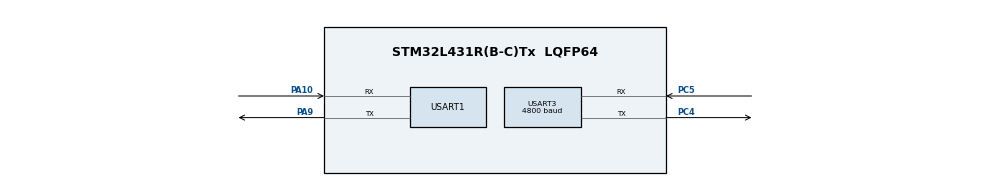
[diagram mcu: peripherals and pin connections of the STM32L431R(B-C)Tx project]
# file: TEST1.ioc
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Dma.Request0=USART3_RX
Dma.USART3_RX.0.Direction=DMA_PERIPH_TO_MEMORY
Dma.USART3_RX.0.Instance=DMA1_Channel3
Dma.USART3_RX.0.MemDataAlignment=DMA_MDATAALIGN_BYTE
Dma.USART3_RX.0.MemInc=DMA_MINC_ENABLE
Dma.USART3_RX.0.Mode=DMA_NORMAL
Dma.USART3_RX.0.PeriphDataAlignment=DMA_PDATAALIGN_BYTE
Dma.USART3_RX.0.PeriphInc=DMA_PINC_DISABLE
Dma.USART3_RX.0.Priority=DMA_PRIORITY_LOW
Mcu.Family=STM32L4
Mcu.Name=STM32L431R(B-C)Tx
Mcu.Package=LQFP64
NVIC.DMA1_Channel3_IRQn=true\:0\:0\:false\:false\:true\:false\:true
NVIC.PriorityGroup=NVIC_PRIORITYGROUP_4
NVIC.USART3_IRQn=true\:0\:0\:false\:false\:true\:true\:true
PA10.Mode=Asynchronous
PA10.Signal=USART1_RX
PA9.Mode=Asynchronous
PA9.Signal=USART1_TX
PC4.Mode=Asynchronous
PC4.Signal=USART3_TX
PC5.Mode=Asynchronous
PC5.Signal=USART3_RX
ProjectManager.HeapSize=0x200
ProjectManager.StackSize=0x400
ProjectManager.TargetToolchain=MDK-ARM V5.27
RCC.HSE_VALUE=8000000
RCC.HSI48_VALUE=48000000
RCC.HSI_VALUE=16000000
RCC.LSE_VALUE=32768
RCC.MSI_VALUE=4000000
RCC.VCOOutputFreq_Value=32000000
USART1.VirtualMode-Asynchronous=VM_ASYNC
USART3.BaudRate=4800
USART3.Parity=PARITY_EVEN
USART3.VirtualMode-Asynchronous=VM_ASYNC
board=custom

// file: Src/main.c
/* USER CODE BEGIN Header */
/**
  ******************************************************************************
  * @file           : main.c
  * @brief          : Main program body
  ******************************************************************************
  * @attention
  *
  * <h2><center>&copy; Copyright (c) 2020 STMicroelectronics.
  * All rights reserved.</center></h2>
  *
  * This software component is licensed by ST under BSD 3-Clause license,
  * the "License"; You may not use this file except in compliance with the
  * License. You may obtain a copy of the License at:
  *                        opensource.org/licenses/BSD-3-Clause
  *
  ******************************************************************************
  */
/* USER CODE END Header */

#include "main.h"

/* USER CODE BEGIN PM */
#define BUFFER_SIZE  480
/* USER CODE END PM */

UART_HandleTypeDef huart1;
UART_HandleTypeDef huart3;
DMA_HandleTypeDef hdma_usart3_rx;

/* USER CODE BEGIN PV */
unsigned char flag=0;
/* USER CODE END PV */

void SystemClock_Config(void);
static void MX_GPIO_Init(void);
static void MX_DMA_Init(void);
static void MX_USART3_UART_Init(void);
static void MX_USART1_UART_Init(void);

/* USER CODE BEGIN 0 */
void HAL_UART_RxCpltCallback(UART_HandleTypeDef *huart)
{
	flag=1;
}
/* USER CODE END 0 */

int main(void)
{
  /* USER CODE BEGIN 1 */
	unsigned char xtemp[BUFFER_SIZE];
	unsigned char ytemp[BUFFER_SIZE];

  /* USER CODE END 1 */

  /* MCU Configuration--------------------------------------------------------*/

  /* Reset of all peripherals, Initializes the Flash interface and the Systick. */
  HAL_Init();

  /* Configure the system clock */
  SystemClock_Config();

  /* Initialize all configured peripherals */
  MX_GPIO_Init();
  MX_DMA_Init();
  MX_USART3_UART_Init();
  MX_USART1_UART_Init();
  /* USER CODE BEGIN 2 */
	HAL_UART_Receive_IT(&huart3,xtemp,BUFFER_SIZE);
  /* USER CODE END 2 */

  /* Infinite loop */
  while (1)
  {

    /* USER CODE BEGIN 3 */
		if(1==flag)
		{
			flag=0;
			memcpy(ytemp,xtemp,BUFFER_SIZE);
			HAL_UART_Transmit(&huart1,ytemp,24,200);
			HAL_UART_Receive_IT(&huart3,xtemp,BUFFER_SIZE);
		}

		#if 0
		if(HAL_OK==HAL_UART_Receive(&huart3,xtemp,120,600))
		{
			memcpy(ytemp,xtemp,120);
			HAL_UART_Transmit(&huart1,ytemp,24,200);
		}
		else
		{
			HAL_UART_Transmit(&huart1,__TIME__,10,200);
		}
		#endif
  }
  /* USER CODE END 3 */
}

void SystemClock_Config(void)
{
  RCC_OscInitTypeDef RCC_OscInitStruct = {0};
  RCC_ClkInitTypeDef RCC_ClkInitStruct = {0};
  RCC_PeriphCLKInitTypeDef PeriphClkInit = {0};

  /** Initializes the CPU, AHB and APB busses clocks
  */
  RCC_OscInitStruct.OscillatorType = RCC_OSCILLATORTYPE_MSI;
  RCC_OscInitStruct.MSIState = RCC_MSI_ON;
  RCC_OscInitStruct.MSICalibrationValue = 0;
  RCC_OscInitStruct.MSIClockRange = RCC_MSIRANGE_6;
  RCC_OscInitStruct.PLL.PLLState = RCC_PLL_NONE;
  if (HAL_RCC_OscConfig(&RCC_OscInitStruct) != HAL_OK)
  {
    Error_Handler();
  }
  /** Initializes the CPU, AHB and APB busses clocks
  */
  RCC_ClkInitStruct.ClockType = RCC_CLOCKTYPE_HCLK|RCC_CLOCKTYPE_SYSCLK
                              |RCC_CLOCKTYPE_PCLK1|RCC_CLOCKTYPE_PCLK2;
  RCC_ClkInitStruct.SYSCLKSource = RCC_SYSCLKSOURCE_MSI;
  RCC_ClkInitStruct.AHBCLKDivider = RCC_SYSCLK_DIV1;
  RCC_ClkInitStruct.APB1CLKDivider = RCC_HCLK_DIV1;
  RCC_ClkInitStruct.APB2CLKDivider = RCC_HCLK_DIV1;

  if (HAL_RCC_ClockConfig(&RCC_ClkInitStruct, FLASH_LATENCY_0) != HAL_OK)
  {
    Error_Handler();
  }
  PeriphClkInit.PeriphClockSelection = RCC_PERIPHCLK_USART1|RCC_PERIPHCLK_USART3;
  PeriphClkInit.Usart1ClockSelection = RCC_USART1CLKSOURCE_PCLK2;
  PeriphClkInit.Usart3ClockSelection = RCC_USART3CLKSOURCE_PCLK1;
  if (HAL_RCCEx_PeriphCLKConfig(&PeriphClkInit) != HAL_OK)
  {
    Error_Handler();
  }
  /** Configure the main internal regulator output voltage
  */
  if (HAL_PWREx_ControlVoltageScaling(PWR_REGULATOR_VOLTAGE_SCALE1) != HAL_OK)
  {
    Error_Handler();
  }
}

static void MX_USART1_UART_Init(void)
{

  huart1.Instance = USART1;
  huart1.Init.BaudRate = 115200;
  huart1.Init.WordLength = UART_WORDLENGTH_8B;
  huart1.Init.StopBits = UART_STOPBITS_1;
  huart1.Init.Parity = UART_PARITY_NONE;
  huart1.Init.Mode = UART_MODE_TX_RX;
  huart1.Init.HwFlowCtl = UART_HWCONTROL_NONE;
  huart1.Init.OverSampling = UART_OVERSAMPLING_16;
  huart1.Init.OneBitSampling = UART_ONE_BIT_SAMPLE_DISABLE;
  huart1.AdvancedInit.AdvFeatureInit = UART_ADVFEATURE_NO_INIT;
  if (HAL_UART_Init(&huart1) != HAL_OK)
  {
    Error_Handler();
  }

}

static void MX_USART3_UART_Init(void)
{

  huart3.Instance = USART3;
  huart3.Init.BaudRate = 4800;
  huart3.Init.WordLength = UART_WORDLENGTH_8B;
  huart3.Init.StopBits = UART_STOPBITS_1;
  huart3.Init.Parity = UART_PARITY_EVEN;
  huart3.Init.Mode = UART_MODE_TX_RX;
  huart3.Init.HwFlowCtl = UART_HWCONTROL_NONE;
  huart3.Init.OverSampling = UART_OVERSAMPLING_16;
  huart3.Init.OneBitSampling = UART_ONE_BIT_SAMPLE_DISABLE;
  huart3.AdvancedInit.AdvFeatureInit = UART_ADVFEATURE_NO_INIT;
  if (HAL_UART_Init(&huart3) != HAL_OK)
  {
    Error_Handler();
  }

}

static void MX_DMA_Init(void)
{

  /* DMA controller clock enable */
  __HAL_RCC_DMA1_CLK_ENABLE();

  /* DMA interrupt init */
  /* DMA1_Channel3_IRQn interrupt configuration */
  HAL_NVIC_SetPriority(DMA1_Channel3_IRQn, 0, 0);
  HAL_NVIC_EnableIRQ(DMA1_Channel3_IRQn);

}

static void MX_GPIO_Init(void)
{

  /* GPIO Ports Clock Enable */
  __HAL_RCC_GPIOC_CLK_ENABLE();
  __HAL_RCC_GPIOA_CLK_ENABLE();

}

void Error_Handler(void)
{
}

/************************ (C) COPYRIGHT STMicroelectronics *****END OF FILE****/
